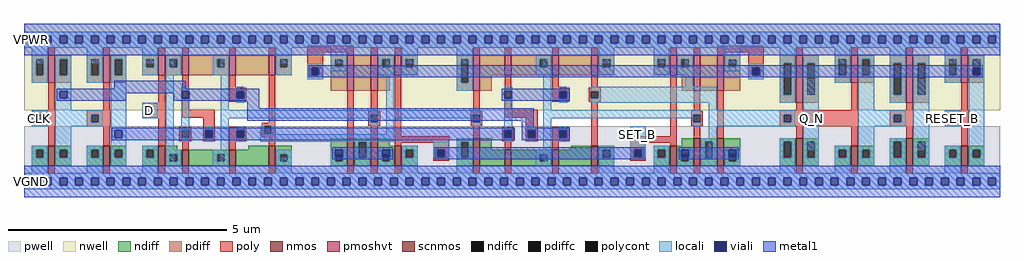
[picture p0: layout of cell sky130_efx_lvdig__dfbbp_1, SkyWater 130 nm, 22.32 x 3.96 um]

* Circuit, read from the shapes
.subckt sky130_efx_lvdig__dfbbp_1 CLK D RESET_B SET_B Q Q_N VGND VPWR VPB VNB
XM1 n1 CLK VGND VNB sky130_fd_pr__nfet_01v8 w=0.45 l=0.15
XM2 n2 n1 VGND VNB sky130_fd_pr__nfet_01v8 w=0.45 l=0.15
XM3 n3 D VGND VNB sky130_fd_pr__nfet_01v8 w=0.45 l=0.15
XM4 n4 n1 n3 VNB sky130_fd_pr__nfet_01v8 w=0.36 l=0.15
XM5 n5 n2 n4 VNB sky130_fd_pr__nfet_01v8 w=0.36 l=0.15
XM6 VGND n6 n5 VNB sky130_fd_pr__nfet_01v8 w=0.45 l=0.15
XM7 n6 n7 n8 VNB sky130_fd_pr__nfet_01v8 w=0.63 l=0.15
XM8 n8 n4 n6 VNB sky130_fd_pr__nfet_01v8 w=0.63 l=0.15
XM9 VGND SET_B n8 VNB sky130_fd_pr__nfet_01v8 w=0.45 l=0.15
XM10 n9 n6 VGND VNB sky130_fd_pr__nfet_01v8 w=0.63 l=0.15
XM11 n10 n2 n9 VNB sky130_fd_pr__nfet_01v8 w=0.36 l=0.15
XM12 n11 n1 n10 VNB sky130_fd_pr__nfet_01v8 w=0.36 l=0.15
XM13 VGND n12 n11 VNB sky130_fd_pr__nfet_01v8 w=0.45 l=0.15
XM14 n13 SET_B VGND VNB sky130_fd_pr__nfet_01v8 w=0.45 l=0.15
XM15 n12 n10 n13 VNB sky130_fd_pr__nfet_01v8 w=0.63 l=0.15
XM16 n13 n7 n12 VNB sky130_fd_pr__nfet_01v8 w=0.63 l=0.15
XM17 Q_N n12 VGND VNB sky130_fd_pr__nfet_01v8 w=0.63 l=0.15
XM18 n14 n12 VGND VNB sky130_fd_pr__nfet_01v8 w=0.45 l=0.15
XM19 Q n14 VGND VNB sky130_fd_pr__nfet_01v8 w=0.63 l=0.15
XM20 n7 RESET_B VGND VNB sky130_fd_pr__nfet_01v8 w=0.45 l=0.15
XM21 n1 CLK VPWR VPB sky130_fd_pr__pfet_01v8_hvt w=0.63 l=0.15
XM22 n2 n1 VPWR VPB sky130_fd_pr__pfet_01v8_hvt w=0.63 l=0.15
XM23 n3 D VPWR VPB sky130_fd_pr__pfet_01v8_hvt w=0.45 l=0.15
XM24 n4 n2 n3 VPB sky130_fd_pr__pfet_01v8_hvt w=0.45 l=0.15
XM25 n15 n1 n4 VPB sky130_fd_pr__pfet_01v8_hvt w=0.45 l=0.15
XM26 VPWR n6 n15 VPB sky130_fd_pr__pfet_01v8_hvt w=0.45 l=0.15
XM27 n16 n7 VPWR VPB sky130_fd_pr__pfet_01v8_hvt w=0.81 l=0.15
XM28 n6 n4 n16 VPB sky130_fd_pr__pfet_01v8_hvt w=0.81 l=0.15
XM29 VPWR SET_B n6 VPB sky130_fd_pr__pfet_01v8_hvt w=0.45 l=0.15
XM30 n17 n6 VPWR VPB sky130_fd_pr__pfet_01v8_hvt w=0.81 l=0.15
XM31 n10 n1 n17 VPB sky130_fd_pr__pfet_01v8_hvt w=0.45 l=0.15
XM32 n18 n2 n10 VPB sky130_fd_pr__pfet_01v8_hvt w=0.45 l=0.15
XM33 VPWR n12 n18 VPB sky130_fd_pr__pfet_01v8_hvt w=0.45 l=0.15
XM34 n12 SET_B VPWR VPB sky130_fd_pr__pfet_01v8_hvt w=0.45 l=0.15
XM35 n19 n10 n12 VPB sky130_fd_pr__pfet_01v8_hvt w=0.81 l=0.15
XM36 VPWR n7 n19 VPB sky130_fd_pr__pfet_01v8_hvt w=0.81 l=0.15
XM37 Q_N n12 VPWR VPB sky130_fd_pr__pfet_01v8_hvt w=1.08 l=0.15
XM38 n14 n12 VPWR VPB sky130_fd_pr__pfet_01v8_hvt w=0.63 l=0.15
XM39 Q n14 VPWR VPB sky130_fd_pr__pfet_01v8_hvt w=1.08 l=0.15
XM40 n7 RESET_B VPWR VPB sky130_fd_pr__pfet_01v8_hvt w=0.63 l=0.15
.ends

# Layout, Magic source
magic
tech sky130A
magscale 1 2
<< nwell >>
rect 0 288 4464 684
<< pwell >>
rect 0 0 4464 216
<< poly >>
rect 1296 555 1509 585
rect 3171 555 3384 585
rect 1296 484 1368 555
rect 1296 450 1315 484
rect 1349 450 1368 484
rect 3312 484 3384 555
rect 3312 450 3331 484
rect 3365 450 3384 484
rect 615 324 645 450
rect 540 305 648 324
rect 36 269 144 288
rect 36 235 55 269
rect 89 235 144 269
rect 36 216 144 235
rect 288 269 396 288
rect 288 235 307 269
rect 341 235 396 269
rect 540 271 559 305
rect 593 271 648 305
rect 540 252 648 271
rect 723 291 753 450
rect 939 393 969 450
rect 939 377 1017 393
rect 939 343 973 377
rect 1007 343 1017 377
rect 939 327 1017 343
rect 723 255 873 291
rect 288 216 396 235
rect 615 126 645 252
rect 711 197 765 213
rect 711 163 721 197
rect 755 163 765 197
rect 711 147 765 163
rect 819 197 873 255
rect 1119 231 1149 450
rect 1296 440 1368 450
rect 1088 215 1149 231
rect 819 163 829 197
rect 863 163 873 197
rect 819 147 873 163
rect 939 197 1017 213
rect 939 163 973 197
rect 1007 163 1017 197
rect 1088 181 1098 215
rect 1132 181 1149 215
rect 1088 165 1149 181
rect 939 147 1017 163
rect 723 108 753 147
rect 939 108 969 147
rect 1119 126 1149 165
rect 1479 162 1509 378
rect 1587 285 1617 378
rect 1575 269 1629 285
rect 1575 235 1585 269
rect 1619 235 1629 269
rect 1575 219 1629 235
rect 1587 162 1617 219
rect 1695 171 1725 450
rect 2055 285 2085 378
rect 2199 291 2229 450
rect 2415 393 2445 450
rect 2595 393 2625 450
rect 2415 377 2493 393
rect 2415 343 2449 377
rect 2483 343 2493 377
rect 2415 327 2493 343
rect 2583 377 2637 393
rect 2583 343 2593 377
rect 2627 343 2637 377
rect 2583 327 2637 343
rect 2043 269 2097 285
rect 2043 235 2053 269
rect 2087 235 2097 269
rect 2199 255 2349 291
rect 2043 219 2097 235
rect 1695 141 1944 171
rect 2055 162 2085 219
rect 2187 197 2241 213
rect 2187 163 2197 197
rect 2231 163 2241 197
rect 2187 147 2241 163
rect 2295 197 2349 255
rect 2295 163 2305 197
rect 2339 163 2349 197
rect 2295 147 2349 163
rect 2415 197 2493 213
rect 2415 163 2449 197
rect 2483 163 2493 197
rect 2415 147 2493 163
rect 1695 126 1725 141
rect 1872 109 1944 141
rect 1872 75 1891 109
rect 1925 75 1944 109
rect 2199 108 2229 147
rect 2415 108 2445 147
rect 2595 126 2625 327
rect 2955 171 2985 450
rect 3312 440 3384 450
rect 3063 285 3093 378
rect 3051 269 3105 285
rect 3051 235 3061 269
rect 3095 235 3105 269
rect 3051 219 3105 235
rect 2772 141 2985 171
rect 3063 162 3093 219
rect 3171 162 3201 378
rect 3456 269 3816 288
rect 3456 235 3475 269
rect 3509 235 3816 269
rect 3456 216 3816 235
rect 3960 269 4068 288
rect 3960 235 3979 269
rect 4013 235 4068 269
rect 3960 216 4068 235
rect 4212 269 4320 288
rect 4212 235 4231 269
rect 4265 235 4320 269
rect 4212 216 4320 235
rect 2772 109 2844 141
rect 2955 126 2985 141
rect 1872 59 1944 75
rect 2772 75 2791 109
rect 2825 75 2844 109
rect 2772 59 2844 75
<< polycont >>
rect 1315 450 1349 484
rect 3331 450 3365 484
rect 55 235 89 269
rect 307 235 341 269
rect 559 271 593 305
rect 973 343 1007 377
rect 721 163 755 197
rect 829 163 863 197
rect 973 163 1007 197
rect 1098 181 1132 215
rect 1585 235 1619 269
rect 2449 343 2483 377
rect 2593 343 2627 377
rect 2053 235 2087 269
rect 2197 163 2231 197
rect 2305 163 2339 197
rect 2449 163 2483 197
rect 1891 75 1925 109
rect 3061 235 3095 269
rect 3475 235 3509 269
rect 3979 235 4013 269
rect 4231 235 4265 269
rect 2791 75 2825 109
<< locali >>
rect 0 629 4464 648
rect 0 595 19 629
rect 53 595 91 629
rect 125 595 163 629
rect 197 595 235 629
rect 269 595 307 629
rect 341 595 379 629
rect 413 595 451 629
rect 485 595 523 629
rect 557 595 595 629
rect 629 595 667 629
rect 701 595 739 629
rect 773 595 811 629
rect 845 595 883 629
rect 917 595 955 629
rect 989 595 1027 629
rect 1061 595 1099 629
rect 1133 595 1171 629
rect 1205 595 1243 629
rect 1277 595 1315 629
rect 1349 595 1387 629
rect 1421 595 1459 629
rect 1493 595 1531 629
rect 1565 595 1603 629
rect 1637 595 1675 629
rect 1709 595 1747 629
rect 1781 595 1819 629
rect 1853 595 1891 629
rect 1925 595 1963 629
rect 1997 595 2035 629
rect 2069 595 2107 629
rect 2141 595 2179 629
rect 2213 595 2251 629
rect 2285 595 2323 629
rect 2357 595 2395 629
rect 2429 595 2467 629
rect 2501 595 2539 629
rect 2573 595 2611 629
rect 2645 595 2683 629
rect 2717 595 2755 629
rect 2789 595 2827 629
rect 2861 595 2899 629
rect 2933 595 2971 629
rect 3005 595 3043 629
rect 3077 595 3115 629
rect 3149 595 3187 629
rect 3221 595 3259 629
rect 3293 595 3331 629
rect 3365 595 3403 629
rect 3437 595 3475 629
rect 3509 595 3547 629
rect 3581 595 3619 629
rect 3653 595 3691 629
rect 3725 595 3763 629
rect 3797 595 3835 629
rect 3869 595 3907 629
rect 3941 595 3979 629
rect 4013 595 4051 629
rect 4085 595 4123 629
rect 4157 595 4195 629
rect 4229 595 4267 629
rect 4301 595 4339 629
rect 4373 595 4411 629
rect 4445 595 4464 629
rect 0 576 4464 595
rect 36 504 108 576
rect 288 504 360 576
rect 540 504 612 576
rect 144 377 216 432
rect 144 343 163 377
rect 197 343 216 377
rect 144 288 216 343
rect 36 269 108 288
rect 36 235 55 269
rect 89 235 108 269
rect 36 216 108 235
rect 144 269 360 288
rect 144 235 307 269
rect 341 235 360 269
rect 144 216 360 235
rect 144 108 216 216
rect 396 197 468 432
rect 540 305 612 324
rect 540 271 559 305
rect 593 271 612 305
rect 540 252 612 271
rect 396 163 415 197
rect 449 163 468 197
rect 396 108 468 163
rect 36 0 108 72
rect 288 0 360 72
rect 540 0 612 72
rect 648 36 684 540
rect 720 377 756 396
rect 720 343 721 377
rect 755 343 756 377
rect 720 197 756 343
rect 900 288 936 540
rect 1152 504 1224 576
rect 1404 504 1476 576
rect 1296 484 1368 504
rect 1296 450 1315 484
rect 1349 450 1368 484
rect 1296 432 1368 450
rect 972 377 1008 396
rect 972 343 973 377
rect 1007 343 1008 377
rect 972 324 1008 343
rect 1656 288 1692 540
rect 1728 504 1800 576
rect 1980 504 2052 576
rect 2196 377 2232 396
rect 2196 343 2197 377
rect 2231 343 2232 377
rect 900 269 1620 288
rect 900 252 1585 269
rect 720 163 721 197
rect 755 163 756 197
rect 720 144 756 163
rect 828 197 864 216
rect 828 163 829 197
rect 863 163 864 197
rect 828 144 864 163
rect 900 36 936 252
rect 1584 235 1585 252
rect 1619 235 1620 269
rect 1584 216 1620 235
rect 1656 269 2088 288
rect 1656 252 2053 269
rect 972 197 1008 216
rect 972 163 973 197
rect 1007 163 1008 197
rect 972 144 1008 163
rect 1080 215 1152 216
rect 1080 181 1098 215
rect 1132 181 1152 215
rect 1080 180 1152 181
rect 1656 180 1692 252
rect 2052 235 2053 252
rect 2087 235 2088 269
rect 2052 216 2088 235
rect 1080 144 1692 180
rect 2196 197 2232 343
rect 2376 288 2412 540
rect 2628 504 2700 576
rect 2880 504 2952 576
rect 3024 396 3060 540
rect 3204 504 3276 576
rect 3456 504 3528 576
rect 3708 504 3780 576
rect 3960 504 4032 576
rect 4212 504 4284 576
rect 3312 484 3384 504
rect 3312 450 3331 484
rect 3365 450 3384 484
rect 3312 432 3384 450
rect 4320 484 4392 540
rect 4320 450 4339 484
rect 4373 450 4392 484
rect 2448 377 2484 396
rect 2448 343 2449 377
rect 2483 343 2484 377
rect 2448 324 2484 343
rect 2592 377 3168 396
rect 2592 343 2593 377
rect 2627 343 3168 377
rect 2592 324 3168 343
rect 3132 288 3168 324
rect 2376 269 3096 288
rect 2376 252 3061 269
rect 2196 163 2197 197
rect 2231 163 2232 197
rect 2196 144 2232 163
rect 2304 197 2340 216
rect 2304 163 2305 197
rect 2339 163 2340 197
rect 2304 144 2340 163
rect 1872 109 1944 144
rect 1872 75 1891 109
rect 1925 75 1944 109
rect 1872 72 1944 75
rect 1152 0 1224 72
rect 1728 0 1800 72
rect 1980 0 2052 72
rect 2376 36 2412 252
rect 3060 235 3061 252
rect 3095 235 3096 269
rect 3060 216 3096 235
rect 3132 269 3528 288
rect 3132 235 3475 269
rect 3509 235 3528 269
rect 3132 216 3528 235
rect 2448 197 2484 216
rect 2448 163 2449 197
rect 2483 163 2484 197
rect 2448 144 2484 163
rect 2772 109 2844 216
rect 2772 75 2791 109
rect 2825 75 2844 109
rect 2772 72 2844 75
rect 2628 0 2700 72
rect 2880 0 2952 72
rect 3132 36 3168 216
rect 3564 108 3636 432
rect 3816 288 3888 432
rect 3816 269 4032 288
rect 3816 235 3979 269
rect 4013 235 4032 269
rect 3816 216 4032 235
rect 3816 108 3888 216
rect 4068 108 4140 432
rect 4212 269 4284 288
rect 4212 235 4231 269
rect 4265 235 4284 269
rect 4212 216 4284 235
rect 4320 108 4392 450
rect 3456 0 3528 72
rect 3708 0 3780 72
rect 3960 0 4032 72
rect 4212 0 4284 72
rect 0 -19 4464 0
rect 0 -53 19 -19
rect 53 -53 91 -19
rect 125 -53 163 -19
rect 197 -53 235 -19
rect 269 -53 307 -19
rect 341 -53 379 -19
rect 413 -53 451 -19
rect 485 -53 523 -19
rect 557 -53 595 -19
rect 629 -53 667 -19
rect 701 -53 739 -19
rect 773 -53 811 -19
rect 845 -53 883 -19
rect 917 -53 955 -19
rect 989 -53 1027 -19
rect 1061 -53 1099 -19
rect 1133 -53 1171 -19
rect 1205 -53 1243 -19
rect 1277 -53 1315 -19
rect 1349 -53 1387 -19
rect 1421 -53 1459 -19
rect 1493 -53 1531 -19
rect 1565 -53 1603 -19
rect 1637 -53 1675 -19
rect 1709 -53 1747 -19
rect 1781 -53 1819 -19
rect 1853 -53 1891 -19
rect 1925 -53 1963 -19
rect 1997 -53 2035 -19
rect 2069 -53 2107 -19
rect 2141 -53 2179 -19
rect 2213 -53 2251 -19
rect 2285 -53 2323 -19
rect 2357 -53 2395 -19
rect 2429 -53 2467 -19
rect 2501 -53 2539 -19
rect 2573 -53 2611 -19
rect 2645 -53 2683 -19
rect 2717 -53 2755 -19
rect 2789 -53 2827 -19
rect 2861 -53 2899 -19
rect 2933 -53 2971 -19
rect 3005 -53 3043 -19
rect 3077 -53 3115 -19
rect 3149 -53 3187 -19
rect 3221 -53 3259 -19
rect 3293 -53 3331 -19
rect 3365 -53 3403 -19
rect 3437 -53 3475 -19
rect 3509 -53 3547 -19
rect 3581 -53 3619 -19
rect 3653 -53 3691 -19
rect 3725 -53 3763 -19
rect 3797 -53 3835 -19
rect 3869 -53 3907 -19
rect 3941 -53 3979 -19
rect 4013 -53 4051 -19
rect 4085 -53 4123 -19
rect 4157 -53 4195 -19
rect 4229 -53 4267 -19
rect 4301 -53 4339 -19
rect 4373 -53 4411 -19
rect 4445 -53 4464 -19
rect 0 -72 4464 -53
<< viali >>
rect 19 595 53 629
rect 91 595 125 629
rect 163 595 197 629
rect 235 595 269 629
rect 307 595 341 629
rect 379 595 413 629
rect 451 595 485 629
rect 523 595 557 629
rect 595 595 629 629
rect 667 595 701 629
rect 739 595 773 629
rect 811 595 845 629
rect 883 595 917 629
rect 955 595 989 629
rect 1027 595 1061 629
rect 1099 595 1133 629
rect 1171 595 1205 629
rect 1243 595 1277 629
rect 1315 595 1349 629
rect 1387 595 1421 629
rect 1459 595 1493 629
rect 1531 595 1565 629
rect 1603 595 1637 629
rect 1675 595 1709 629
rect 1747 595 1781 629
rect 1819 595 1853 629
rect 1891 595 1925 629
rect 1963 595 1997 629
rect 2035 595 2069 629
rect 2107 595 2141 629
rect 2179 595 2213 629
rect 2251 595 2285 629
rect 2323 595 2357 629
rect 2395 595 2429 629
rect 2467 595 2501 629
rect 2539 595 2573 629
rect 2611 595 2645 629
rect 2683 595 2717 629
rect 2755 595 2789 629
rect 2827 595 2861 629
rect 2899 595 2933 629
rect 2971 595 3005 629
rect 3043 595 3077 629
rect 3115 595 3149 629
rect 3187 595 3221 629
rect 3259 595 3293 629
rect 3331 595 3365 629
rect 3403 595 3437 629
rect 3475 595 3509 629
rect 3547 595 3581 629
rect 3619 595 3653 629
rect 3691 595 3725 629
rect 3763 595 3797 629
rect 3835 595 3869 629
rect 3907 595 3941 629
rect 3979 595 4013 629
rect 4051 595 4085 629
rect 4123 595 4157 629
rect 4195 595 4229 629
rect 4267 595 4301 629
rect 4339 595 4373 629
rect 4411 595 4445 629
rect 163 343 197 377
rect 415 163 449 197
rect 721 343 755 377
rect 1315 450 1349 484
rect 973 343 1007 377
rect 2197 343 2231 377
rect 829 163 863 197
rect 973 163 1007 197
rect 3331 450 3365 484
rect 4339 450 4373 484
rect 2449 343 2483 377
rect 2197 163 2231 197
rect 2305 163 2339 197
rect 1423 75 1457 109
rect 1639 75 1673 109
rect 1891 75 1925 109
rect 2449 163 2483 197
rect 2791 75 2825 109
rect 3007 75 3041 109
rect 3223 75 3257 109
rect 19 -53 53 -19
rect 91 -53 125 -19
rect 163 -53 197 -19
rect 235 -53 269 -19
rect 307 -53 341 -19
rect 379 -53 413 -19
rect 451 -53 485 -19
rect 523 -53 557 -19
rect 595 -53 629 -19
rect 667 -53 701 -19
rect 739 -53 773 -19
rect 811 -53 845 -19
rect 883 -53 917 -19
rect 955 -53 989 -19
rect 1027 -53 1061 -19
rect 1099 -53 1133 -19
rect 1171 -53 1205 -19
rect 1243 -53 1277 -19
rect 1315 -53 1349 -19
rect 1387 -53 1421 -19
rect 1459 -53 1493 -19
rect 1531 -53 1565 -19
rect 1603 -53 1637 -19
rect 1675 -53 1709 -19
rect 1747 -53 1781 -19
rect 1819 -53 1853 -19
rect 1891 -53 1925 -19
rect 1963 -53 1997 -19
rect 2035 -53 2069 -19
rect 2107 -53 2141 -19
rect 2179 -53 2213 -19
rect 2251 -53 2285 -19
rect 2323 -53 2357 -19
rect 2395 -53 2429 -19
rect 2467 -53 2501 -19
rect 2539 -53 2573 -19
rect 2611 -53 2645 -19
rect 2683 -53 2717 -19
rect 2755 -53 2789 -19
rect 2827 -53 2861 -19
rect 2899 -53 2933 -19
rect 2971 -53 3005 -19
rect 3043 -53 3077 -19
rect 3115 -53 3149 -19
rect 3187 -53 3221 -19
rect 3259 -53 3293 -19
rect 3331 -53 3365 -19
rect 3403 -53 3437 -19
rect 3475 -53 3509 -19
rect 3547 -53 3581 -19
rect 3619 -53 3653 -19
rect 3691 -53 3725 -19
rect 3763 -53 3797 -19
rect 3835 -53 3869 -19
rect 3907 -53 3941 -19
rect 3979 -53 4013 -19
rect 4051 -53 4085 -19
rect 4123 -53 4157 -19
rect 4195 -53 4229 -19
rect 4267 -53 4301 -19
rect 4339 -53 4373 -19
rect 4411 -53 4445 -19
<< metal1 >>
rect 0 629 4464 684
rect 0 595 19 629
rect 53 595 91 629
rect 125 595 163 629
rect 197 595 235 629
rect 269 595 307 629
rect 341 595 379 629
rect 413 595 451 629
rect 485 595 523 629
rect 557 595 595 629
rect 629 595 667 629
rect 701 595 739 629
rect 773 595 811 629
rect 845 595 883 629
rect 917 595 955 629
rect 989 595 1027 629
rect 1061 595 1099 629
rect 1133 595 1171 629
rect 1205 595 1243 629
rect 1277 595 1315 629
rect 1349 595 1387 629
rect 1421 595 1459 629
rect 1493 595 1531 629
rect 1565 595 1603 629
rect 1637 595 1675 629
rect 1709 595 1747 629
rect 1781 595 1819 629
rect 1853 595 1891 629
rect 1925 595 1963 629
rect 1997 595 2035 629
rect 2069 595 2107 629
rect 2141 595 2179 629
rect 2213 595 2251 629
rect 2285 595 2323 629
rect 2357 595 2395 629
rect 2429 595 2467 629
rect 2501 595 2539 629
rect 2573 595 2611 629
rect 2645 595 2683 629
rect 2717 595 2755 629
rect 2789 595 2827 629
rect 2861 595 2899 629
rect 2933 595 2971 629
rect 3005 595 3043 629
rect 3077 595 3115 629
rect 3149 595 3187 629
rect 3221 595 3259 629
rect 3293 595 3331 629
rect 3365 595 3403 629
rect 3437 595 3475 629
rect 3509 595 3547 629
rect 3581 595 3619 629
rect 3653 595 3691 629
rect 3725 595 3763 629
rect 3797 595 3835 629
rect 3869 595 3907 629
rect 3941 595 3979 629
rect 4013 595 4051 629
rect 4085 595 4123 629
rect 4157 595 4195 629
rect 4229 595 4267 629
rect 4301 595 4339 629
rect 4373 595 4411 629
rect 4445 595 4464 629
rect 0 540 4464 595
rect 1302 484 4386 495
rect 1302 450 1315 484
rect 1349 450 3331 484
rect 3365 450 4339 484
rect 4373 450 4386 484
rect 1302 439 4386 450
rect 412 388 740 424
rect 150 377 1076 388
rect 150 343 163 377
rect 197 368 721 377
rect 197 343 468 368
rect 150 332 468 343
rect 684 343 721 368
rect 755 343 973 377
rect 1007 343 1076 377
rect 684 332 1076 343
rect 2184 377 2496 388
rect 2184 343 2197 377
rect 2231 343 2449 377
rect 2483 343 2496 377
rect 2184 332 2496 343
rect 1020 298 1076 332
rect 1020 242 2332 298
rect 2276 208 2332 242
rect 402 197 2244 208
rect 402 163 415 197
rect 449 163 829 197
rect 863 163 973 197
rect 1007 163 2197 197
rect 2231 163 2244 197
rect 402 152 2244 163
rect 2276 197 2496 208
rect 2276 163 2305 197
rect 2339 163 2449 197
rect 2483 163 2496 197
rect 2276 152 2496 163
rect 1410 109 1686 120
rect 1410 75 1423 109
rect 1457 75 1639 109
rect 1673 75 1686 109
rect 1410 64 1686 75
rect 1878 109 2838 120
rect 1878 75 1891 109
rect 1925 75 2791 109
rect 2825 75 2838 109
rect 1878 64 2838 75
rect 2994 109 3270 120
rect 2994 75 3007 109
rect 3041 75 3223 109
rect 3257 75 3270 109
rect 2994 64 3270 75
rect 0 -19 4464 36
rect 0 -53 19 -19
rect 53 -53 91 -19
rect 125 -53 163 -19
rect 197 -53 235 -19
rect 269 -53 307 -19
rect 341 -53 379 -19
rect 413 -53 451 -19
rect 485 -53 523 -19
rect 557 -53 595 -19
rect 629 -53 667 -19
rect 701 -53 739 -19
rect 773 -53 811 -19
rect 845 -53 883 -19
rect 917 -53 955 -19
rect 989 -53 1027 -19
rect 1061 -53 1099 -19
rect 1133 -53 1171 -19
rect 1205 -53 1243 -19
rect 1277 -53 1315 -19
rect 1349 -53 1387 -19
rect 1421 -53 1459 -19
rect 1493 -53 1531 -19
rect 1565 -53 1603 -19
rect 1637 -53 1675 -19
rect 1709 -53 1747 -19
rect 1781 -53 1819 -19
rect 1853 -53 1891 -19
rect 1925 -53 1963 -19
rect 1997 -53 2035 -19
rect 2069 -53 2107 -19
rect 2141 -53 2179 -19
rect 2213 -53 2251 -19
rect 2285 -53 2323 -19
rect 2357 -53 2395 -19
rect 2429 -53 2467 -19
rect 2501 -53 2539 -19
rect 2573 -53 2611 -19
rect 2645 -53 2683 -19
rect 2717 -53 2755 -19
rect 2789 -53 2827 -19
rect 2861 -53 2899 -19
rect 2933 -53 2971 -19
rect 3005 -53 3043 -19
rect 3077 -53 3115 -19
rect 3149 -53 3187 -19
rect 3221 -53 3259 -19
rect 3293 -53 3331 -19
rect 3365 -53 3403 -19
rect 3437 -53 3475 -19
rect 3509 -53 3547 -19
rect 3581 -53 3619 -19
rect 3653 -53 3691 -19
rect 3725 -53 3763 -19
rect 3797 -53 3835 -19
rect 3869 -53 3907 -19
rect 3941 -53 3979 -19
rect 4013 -53 4051 -19
rect 4085 -53 4123 -19
rect 4157 -53 4195 -19
rect 4229 -53 4267 -19
rect 4301 -53 4339 -19
rect 4373 -53 4411 -19
rect 4445 -53 4464 -19
rect 0 -108 4464 -53
use nmos_isl_dfbbp_m  nmos_isl_dfbbp_m_0
transform 1 0 0 0 1 0
box 504 0 1260 216
use pmos_isl_dfbbp_m  pmos_isl_dfbbp_m_0
transform 1 0 0 0 1 0
box 504 288 1260 684
use nmos_isl_dfbbp_oaim  nmos_isl_dfbbp_oaim_0
transform 1 0 0 0 1 0
box 1368 0 1836 216
use pmos_isl_dfbbp_oaim  pmos_isl_dfbbp_oaim_0
transform 1 0 0 0 1 0
box 1368 288 1836 684
use nmos_isl_dfbbp_oais  nmos_isl_dfbbp_oais_0
transform 1 0 0 0 1 0
box 2844 0 3312 216
use pmos_isl_dfbbp_oais  pmos_isl_dfbbp_oais_0
transform 1 0 0 0 1 0
box 2844 288 3312 684
use nmos_isl_dfbbp_s  nmos_isl_dfbbp_s_0
transform 1 0 0 0 1 0
box 1944 0 2736 216
use pmos_isl_dfbbp_s  pmos_isl_dfbbp_s_0
transform 1 0 0 0 1 0
box 1944 288 2736 684
use nmos_n2f5_f1_l150_ff  nmos_n2f5_f1_l150_ff_0
transform 1 0 72 0 1 36
box -72 -36 180 180
use nmos_n2f5_f1_l150_ff  nmos_n2f5_f1_l150_ff_1
transform 1 0 324 0 1 36
box -72 -36 180 180
use nmos_n2f5_f1_l150_ff  nmos_n2f5_f1_l150_ff_2
transform 1 0 3744 0 1 36
box -72 -36 180 180
use nmos_n2f5_f1_l150_ff  nmos_n2f5_f1_l150_ff_3
transform 1 0 4248 0 1 36
box -72 -36 180 180
use nmos_n3f5_f1_l150  nmos_n3f5_f1_l150_0
transform 1 0 3492 0 1 36
box -72 -36 180 180
use nmos_n3f5_f1_l150  nmos_n3f5_f1_l150_1
transform 1 0 3996 0 1 36
box -72 -36 180 180
use pmos_n3f5_f1_l150_hvt_ff  pmos_n3f5_f1_l150_hvt_ff_0
transform 1 0 72 0 1 414
box -72 -126 180 162
use pmos_n3f5_f1_l150_hvt_ff  pmos_n3f5_f1_l150_hvt_ff_1
transform 1 0 324 0 1 414
box -72 -126 180 162
use pmos_n3f5_f1_l150_hvt_ff  pmos_n3f5_f1_l150_hvt_ff_2
transform 1 0 3744 0 1 414
box -72 -126 180 162
use pmos_n3f5_f1_l150_hvt_ff  pmos_n3f5_f1_l150_hvt_ff_3
transform 1 0 4248 0 1 414
box -72 -126 180 162
use pmos_n6_f1_l150_hvt  pmos_n6_f1_l150_hvt_0
transform 1 0 3492 0 1 324
box -72 -36 180 252
use pmos_n6_f1_l150_hvt  pmos_n6_f1_l150_hvt_1
transform 1 0 3996 0 1 324
box -72 -36 180 252
<< labels >>
flabel locali 36 216 108 288 0 FreeSans 288 0 0 0 CLK
port 1 nsew signal input
flabel locali 540 252 612 324 0 FreeSans 288 0 0 0 D
port 2 nsew signal input
flabel locali 4212 216 4284 288 0 FreeSans 288 0 0 0 RESET_B
port 3 nsew signal input
flabel locali 2772 144 2844 216 0 FreeSans 288 0 0 0 SET_B
port 4 nsew signal input
flabel locali 4068 216 4140 288 0 FreeSans 288 0 0 0 Q
port 5 nsew signal output
flabel locali 3564 216 3636 288 0 FreeSans 288 0 0 0 Q_N
port 6 nsew signal output
flabel metal1 0 -72 72 0 0 FreeSans 288 0 0 0 VGND
port 7 nsew ground bidirectional
flabel metal1 0 576 72 648 0 FreeSans 288 0 0 0 VPWR
port 8 nsew power bidirectional
flabel nwell 0 540 36 576 0 FreeSans 288 0 0 0 VPB
port 9 nsew power bidirectional
flabel pwell 0 0 36 36 0 FreeSans 288 0 0 0 VNB
port 10 nsew ground bidirectional
<< properties >>
string FIXED_BBOX 0 -36 4464 612
<< end >>

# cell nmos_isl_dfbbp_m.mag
magic
tech sky130A
magscale 1 2
<< pwell >>
rect 504 0 1260 216
<< nmos >>
rect 615 36 645 126
rect 1119 36 1149 126
<< scnmos >>
rect 723 36 753 108
rect 939 36 969 108
<< ndiff >>
rect 540 108 615 126
rect 540 72 559 108
rect 593 72 615 108
rect 540 36 615 72
rect 645 108 700 126
rect 1026 108 1119 126
rect 645 89 723 108
rect 645 55 667 89
rect 701 55 723 89
rect 645 36 723 55
rect 753 89 939 108
rect 753 55 883 89
rect 917 55 939 89
rect 753 36 939 55
rect 969 36 1119 108
rect 1149 89 1224 126
rect 1149 55 1171 89
rect 1205 55 1224 89
rect 1149 36 1224 55
<< ndiffc >>
rect 559 72 593 108
rect 667 55 701 89
rect 883 55 917 89
rect 1171 55 1205 89
<< poly >>
rect 615 126 645 162
rect 723 108 753 144
rect 939 108 969 144
rect 1119 126 1149 162
rect 615 0 645 36
rect 723 0 753 36
rect 939 0 969 36
rect 1119 0 1149 36
<< locali >>
rect 540 108 612 126
rect 540 72 559 108
rect 593 72 612 108
rect 540 36 612 72
rect 648 89 720 108
rect 648 55 667 89
rect 701 55 720 89
rect 648 36 720 55
rect 864 89 936 108
rect 864 55 883 89
rect 917 55 936 89
rect 864 36 936 55
rect 1152 89 1224 108
rect 1152 55 1171 89
rect 1205 55 1224 89
rect 1152 36 1224 55
<< end >>

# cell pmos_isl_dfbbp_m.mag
magic
tech sky130A
magscale 1 2
<< nwell >>
rect 504 288 1260 684
<< pmoshvt >>
rect 615 450 645 540
rect 723 450 753 540
rect 939 450 969 540
rect 1119 450 1149 540
<< pdiff >>
rect 540 522 615 540
rect 540 486 559 522
rect 593 486 615 522
rect 540 450 615 486
rect 645 522 723 540
rect 645 486 667 522
rect 701 486 723 522
rect 645 450 723 486
rect 753 522 939 540
rect 753 486 883 522
rect 917 486 939 522
rect 753 450 939 486
rect 969 450 1119 540
rect 1149 522 1224 540
rect 1149 486 1171 522
rect 1205 486 1224 522
rect 1149 450 1224 486
<< pdiffc >>
rect 559 486 593 522
rect 667 486 701 522
rect 883 486 917 522
rect 1171 486 1205 522
<< poly >>
rect 615 540 645 576
rect 723 540 753 576
rect 939 540 969 576
rect 1119 540 1149 576
rect 615 414 645 450
rect 723 414 753 450
rect 939 414 969 450
rect 1119 414 1149 450
<< locali >>
rect 540 522 612 540
rect 540 486 559 522
rect 593 486 612 522
rect 540 450 612 486
rect 648 522 720 540
rect 648 486 667 522
rect 701 486 720 522
rect 648 450 720 486
rect 864 522 936 540
rect 864 486 883 522
rect 917 486 936 522
rect 864 450 936 486
rect 1152 522 1224 540
rect 1152 486 1171 522
rect 1205 486 1224 522
rect 1152 450 1224 486
<< end >>

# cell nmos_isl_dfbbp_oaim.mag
magic
tech sky130A
magscale 1 2
<< pwell >>
rect 1368 0 1836 216
<< nmos >>
rect 1479 36 1509 162
rect 1587 36 1617 162
rect 1695 36 1725 126
<< ndiff >>
rect 1404 89 1479 162
rect 1404 55 1423 89
rect 1457 55 1479 89
rect 1404 36 1479 55
rect 1509 144 1587 162
rect 1509 72 1531 144
rect 1565 72 1587 144
rect 1509 36 1587 72
rect 1617 126 1672 162
rect 1617 89 1695 126
rect 1617 55 1639 89
rect 1673 55 1695 89
rect 1617 36 1695 55
rect 1725 108 1800 126
rect 1725 72 1747 108
rect 1781 72 1800 108
rect 1725 36 1800 72
<< ndiffc >>
rect 1423 55 1457 89
rect 1531 72 1565 144
rect 1639 55 1673 89
rect 1747 72 1781 108
<< poly >>
rect 1479 162 1509 198
rect 1587 162 1617 198
rect 1695 126 1725 162
rect 1479 0 1509 36
rect 1587 0 1617 36
rect 1695 0 1725 36
<< locali >>
rect 1512 144 1584 162
rect 1404 89 1476 108
rect 1404 55 1423 89
rect 1457 55 1476 89
rect 1404 36 1476 55
rect 1512 72 1531 144
rect 1565 72 1584 144
rect 1728 108 1800 126
rect 1512 36 1584 72
rect 1620 89 1692 108
rect 1620 55 1639 89
rect 1673 55 1692 89
rect 1620 36 1692 55
rect 1728 72 1747 108
rect 1781 72 1800 108
rect 1728 36 1800 72
<< end >>

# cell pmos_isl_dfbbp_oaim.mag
magic
tech sky130A
magscale 1 2
<< nwell >>
rect 1368 288 1836 684
<< pmoshvt >>
rect 1479 378 1509 540
rect 1587 378 1617 540
rect 1695 450 1725 540
<< pdiff >>
rect 1404 521 1479 540
rect 1404 487 1423 521
rect 1457 487 1479 521
rect 1404 378 1479 487
rect 1509 378 1587 540
rect 1617 522 1695 540
rect 1617 486 1639 522
rect 1673 486 1695 522
rect 1617 450 1695 486
rect 1725 522 1800 540
rect 1725 486 1747 522
rect 1781 486 1800 522
rect 1725 450 1800 486
rect 1617 378 1672 450
<< pdiffc >>
rect 1423 487 1457 521
rect 1639 486 1673 522
rect 1747 486 1781 522
<< poly >>
rect 1479 540 1509 576
rect 1587 540 1617 576
rect 1695 540 1725 576
rect 1695 414 1725 450
rect 1479 342 1509 378
rect 1587 342 1617 378
<< locali >>
rect 1404 521 1476 540
rect 1404 487 1423 521
rect 1457 487 1476 521
rect 1404 468 1476 487
rect 1620 522 1692 540
rect 1620 486 1639 522
rect 1673 486 1692 522
rect 1620 450 1692 486
rect 1728 522 1800 540
rect 1728 486 1747 522
rect 1781 486 1800 522
rect 1728 450 1800 486
<< end >>

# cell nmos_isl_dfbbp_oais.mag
magic
tech sky130A
magscale 1 2
<< pwell >>
rect 2844 0 3312 216
<< nmos >>
rect 2955 36 2985 126
rect 3063 36 3093 162
rect 3171 36 3201 162
<< ndiff >>
rect 3008 126 3063 162
rect 2880 108 2955 126
rect 2880 72 2899 108
rect 2933 72 2955 108
rect 2880 36 2955 72
rect 2985 89 3063 126
rect 2985 55 3007 89
rect 3041 55 3063 89
rect 2985 36 3063 55
rect 3093 144 3171 162
rect 3093 72 3115 144
rect 3149 72 3171 144
rect 3093 36 3171 72
rect 3201 89 3276 162
rect 3201 55 3223 89
rect 3257 55 3276 89
rect 3201 36 3276 55
<< ndiffc >>
rect 2899 72 2933 108
rect 3007 55 3041 89
rect 3115 72 3149 144
rect 3223 55 3257 89
<< poly >>
rect 3063 162 3093 198
rect 3171 162 3201 198
rect 2955 126 2985 162
rect 2955 0 2985 36
rect 3063 0 3093 36
rect 3171 0 3201 36
<< locali >>
rect 3096 144 3168 162
rect 2880 108 2952 126
rect 2880 72 2899 108
rect 2933 72 2952 108
rect 2880 36 2952 72
rect 2988 89 3060 108
rect 2988 55 3007 89
rect 3041 55 3060 89
rect 2988 36 3060 55
rect 3096 72 3115 144
rect 3149 72 3168 144
rect 3096 36 3168 72
rect 3204 89 3276 108
rect 3204 55 3223 89
rect 3257 55 3276 89
rect 3204 36 3276 55
<< end >>

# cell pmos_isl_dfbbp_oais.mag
magic
tech sky130A
magscale 1 2
<< nwell >>
rect 2844 288 3312 684
<< pmoshvt >>
rect 2955 450 2985 540
rect 3063 378 3093 540
rect 3171 378 3201 540
<< pdiff >>
rect 2880 522 2955 540
rect 2880 486 2899 522
rect 2933 486 2955 522
rect 2880 450 2955 486
rect 2985 522 3063 540
rect 2985 486 3007 522
rect 3041 486 3063 522
rect 2985 450 3063 486
rect 3008 378 3063 450
rect 3093 378 3171 540
rect 3201 521 3276 540
rect 3201 487 3223 521
rect 3257 487 3276 521
rect 3201 378 3276 487
<< pdiffc >>
rect 2899 486 2933 522
rect 3007 486 3041 522
rect 3223 487 3257 521
<< poly >>
rect 2955 540 2985 576
rect 3063 540 3093 576
rect 3171 540 3201 576
rect 2955 414 2985 450
rect 3063 342 3093 378
rect 3171 342 3201 378
<< locali >>
rect 2880 522 2952 540
rect 2880 486 2899 522
rect 2933 486 2952 522
rect 2880 450 2952 486
rect 2988 522 3060 540
rect 2988 486 3007 522
rect 3041 486 3060 522
rect 2988 450 3060 486
rect 3204 521 3276 540
rect 3204 487 3223 521
rect 3257 487 3276 521
rect 3204 468 3276 487
<< end >>

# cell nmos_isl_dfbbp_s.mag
magic
tech sky130A
magscale 1 2
<< pwell >>
rect 1944 0 2736 216
<< nmos >>
rect 2055 36 2085 162
rect 2595 36 2625 126
<< scnmos >>
rect 2199 36 2229 108
rect 2415 36 2445 108
<< ndiff >>
rect 1980 144 2055 162
rect 1980 72 1999 144
rect 2033 72 2055 144
rect 1980 36 2055 72
rect 2085 108 2140 162
rect 2502 108 2595 126
rect 2085 36 2199 108
rect 2229 89 2415 108
rect 2229 55 2359 89
rect 2393 55 2415 89
rect 2229 36 2415 55
rect 2445 36 2595 108
rect 2625 108 2700 126
rect 2625 72 2647 108
rect 2681 72 2700 108
rect 2625 36 2700 72
<< ndiffc >>
rect 1999 72 2033 144
rect 2359 55 2393 89
rect 2647 72 2681 108
<< poly >>
rect 2055 162 2085 198
rect 2199 108 2229 144
rect 2415 108 2445 144
rect 2595 126 2625 162
rect 2055 0 2085 36
rect 2199 0 2229 36
rect 2415 0 2445 36
rect 2595 0 2625 36
<< locali >>
rect 1980 144 2052 162
rect 1980 72 1999 144
rect 2033 72 2052 144
rect 2628 108 2700 126
rect 1980 36 2052 72
rect 2340 89 2412 108
rect 2340 55 2359 89
rect 2393 55 2412 89
rect 2340 36 2412 55
rect 2628 72 2647 108
rect 2681 72 2700 108
rect 2628 36 2700 72
<< end >>

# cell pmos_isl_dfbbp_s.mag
magic
tech sky130A
magscale 1 2
<< nwell >>
rect 1944 288 2736 684
<< pmoshvt >>
rect 2055 378 2085 540
rect 2199 450 2229 540
rect 2415 450 2445 540
rect 2595 450 2625 540
<< pdiff >>
rect 1980 522 2055 540
rect 1980 414 1999 522
rect 2033 414 2055 522
rect 1980 378 2055 414
rect 2085 450 2199 540
rect 2229 522 2415 540
rect 2229 486 2359 522
rect 2393 486 2415 522
rect 2229 450 2415 486
rect 2445 450 2595 540
rect 2625 522 2700 540
rect 2625 486 2647 522
rect 2681 486 2700 522
rect 2625 450 2700 486
rect 2085 378 2140 450
<< pdiffc >>
rect 1999 414 2033 522
rect 2359 486 2393 522
rect 2647 486 2681 522
<< poly >>
rect 2055 540 2085 576
rect 2199 540 2229 576
rect 2415 540 2445 576
rect 2595 540 2625 576
rect 2199 414 2229 450
rect 2415 414 2445 450
rect 2595 414 2625 450
rect 2055 342 2085 378
<< locali >>
rect 1980 522 2052 540
rect 1980 414 1999 522
rect 2033 414 2052 522
rect 2340 522 2412 540
rect 2340 486 2359 522
rect 2393 486 2412 522
rect 2340 450 2412 486
rect 2628 522 2700 540
rect 2628 486 2647 522
rect 2681 486 2700 522
rect 2628 450 2700 486
rect 1980 378 2052 414
<< end >>

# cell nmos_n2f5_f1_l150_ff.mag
magic
tech sky130A
magscale 1 2
<< pwell >>
rect -72 -36 180 180
<< nmos >>
rect 39 0 69 90
<< ndiff >>
rect -36 72 39 90
rect -36 36 -17 72
rect 17 36 39 72
rect -36 0 39 36
rect 69 72 144 90
rect 69 36 91 72
rect 125 36 144 72
rect 69 0 144 36
<< ndiffc >>
rect -17 36 17 72
rect 91 36 125 72
<< poly >>
rect 39 90 69 180
rect 39 -36 69 0
<< locali >>
rect -36 72 36 90
rect -36 36 -17 72
rect 17 36 36 72
rect -36 0 36 36
rect 72 72 144 90
rect 72 36 91 72
rect 125 36 144 72
rect 72 0 144 36
<< end >>

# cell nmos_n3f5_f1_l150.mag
magic
tech sky130A
magscale 1 2
<< pwell >>
rect -72 -36 180 180
<< nmos >>
rect 39 0 69 126
<< ndiff >>
rect -36 108 39 126
rect -36 36 -17 108
rect 17 36 39 108
rect -36 0 39 36
rect 69 108 144 126
rect 69 36 91 108
rect 125 36 144 108
rect 69 0 144 36
<< ndiffc >>
rect -17 36 17 108
rect 91 36 125 108
<< poly >>
rect 39 126 69 180
rect 39 -36 69 0
<< locali >>
rect -36 108 36 126
rect -36 36 -17 108
rect 17 36 36 108
rect -36 0 36 36
rect 72 108 144 126
rect 72 36 91 108
rect 125 36 144 108
rect 72 0 144 36
<< labels >>
rlabel locali 0 18 0 18 0 S0
port 1 nsew
rlabel locali 108 18 108 18 0 D0
port 2 nsew
<< end >>

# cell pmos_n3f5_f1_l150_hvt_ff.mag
magic
tech sky130A
magscale 1 2
<< nwell >>
rect -72 -126 180 162
<< pmoshvt >>
rect 39 0 69 126
<< pdiff >>
rect -36 108 39 126
rect -36 36 -17 108
rect 17 36 39 108
rect -36 0 39 36
rect 69 108 144 126
rect 69 36 91 108
rect 125 36 144 108
rect 69 0 144 36
<< pdiffc >>
rect -17 36 17 108
rect 91 36 125 108
<< poly >>
rect 39 126 69 162
rect 39 -126 69 0
<< locali >>
rect -36 108 36 126
rect -36 36 -17 108
rect 17 36 36 108
rect -36 0 36 36
rect 72 108 144 126
rect 72 36 91 108
rect 125 36 144 108
rect 72 0 144 36
<< end >>

# cell pmos_n6_f1_l150_hvt: kit device pmos, n 6 fingers 1 length 0.15 butted 0 ltap 0 rtap 0 vt hvt tgate 0 bgate 0
